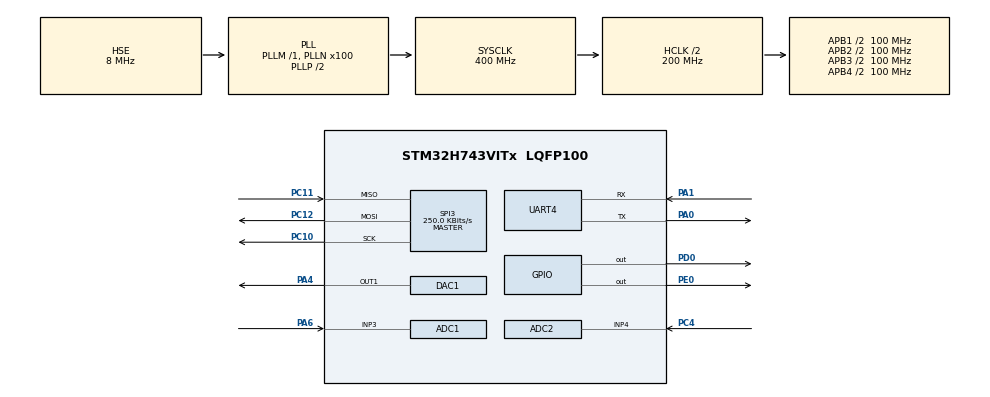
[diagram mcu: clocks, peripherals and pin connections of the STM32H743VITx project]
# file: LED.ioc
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ADC1.Channel-0\#ChannelRegularConversion=ADC_CHANNEL_3
ADC1.ClockPrescaler=ADC_CLOCK_ASYNC_DIV2
ADC1.ConversionDataManagement=ADC_CONVERSIONDATA_DMA_CIRCULAR
ADC1.DMAAccessModeView=ENABLE
ADC1.ExternalTrigConv=ADC_EXTERNALTRIG_T3_TRGO
ADC1.Mode=ADC_DUALMODE_REGSIMULT
ADC1.NbrOfConversion=1
ADC1.NbrOfConversionFlag=1
ADC1.OffsetNumber-0\#ChannelRegularConversion=ADC_OFFSET_NONE
ADC1.OversamplingMode=DISABLE
ADC1.Rank-0\#ChannelRegularConversion=1
ADC1.SamplingTime-0\#ChannelRegularConversion=ADC_SAMPLETIME_1CYCLE_5
ADC1.master=1
ADC2.Channel-1\#ChannelRegularConversion=ADC_CHANNEL_4
ADC2.ConversionDataManagement=ADC_CONVERSIONDATA_DMA_CIRCULAR
ADC2.DMAAccessModeView=ENABLE
ADC2.Mode=ADC_DUALMODE_REGSIMULT
ADC2.NbrOfConversionFlag=1
ADC2.OffsetNumber-1\#ChannelRegularConversion=ADC_OFFSET_NONE
ADC2.Rank-1\#ChannelRegularConversion=1
ADC2.SamplingTime-1\#ChannelRegularConversion=ADC_SAMPLETIME_1CYCLE_5
Bdma.BDMA_GENERATOR0.0.Direction=DMA_MEMORY_TO_PERIPH
Bdma.BDMA_GENERATOR0.0.EventEnable=DISABLE
Bdma.BDMA_GENERATOR0.0.Instance=BDMA_Channel0
Bdma.BDMA_GENERATOR0.0.MemDataAlignment=DMA_MDATAALIGN_HALFWORD
Bdma.BDMA_GENERATOR0.0.MemInc=DMA_MINC_ENABLE
Bdma.BDMA_GENERATOR0.0.Mode=DMA_CIRCULAR
Bdma.BDMA_GENERATOR0.0.PeriphDataAlignment=DMA_PDATAALIGN_HALFWORD
Bdma.BDMA_GENERATOR0.0.PeriphInc=DMA_PINC_DISABLE
Bdma.BDMA_GENERATOR0.0.Polarity=HAL_DMAMUX_REQ_GEN_RISING
Bdma.BDMA_GENERATOR0.0.Priority=DMA_PRIORITY_LOW
Bdma.BDMA_GENERATOR0.0.RequestNumber=1
Bdma.BDMA_GENERATOR0.0.SignalID=HAL_DMAMUX2_REQ_GEN_LPTIM2_OUT
Bdma.BDMA_GENERATOR0.0.SyncEnable=DISABLE
Bdma.BDMA_GENERATOR0.0.SyncPolarity=HAL_DMAMUX_SYNC_NO_EVENT
Bdma.BDMA_GENERATOR0.0.SyncRequestNumber=1
Bdma.BDMA_GENERATOR0.0.SyncSignalID=NONE
Bdma.Request0=BDMA_GENERATOR0
Bdma.RequestsNb=1
CORTEX_M7.CPU_DCache=Disabled
CORTEX_M7.CPU_ICache=Disabled
Dma.ADC1.0.Direction=DMA_PERIPH_TO_MEMORY
Dma.ADC1.0.EventEnable=DISABLE
Dma.ADC1.0.FIFOMode=DMA_FIFOMODE_DISABLE
Dma.ADC1.0.Instance=DMA1_Stream1
Dma.ADC1.0.MemDataAlignment=DMA_MDATAALIGN_HALFWORD
Dma.ADC1.0.MemInc=DMA_MINC_ENABLE
Dma.ADC1.0.Mode=DMA_CIRCULAR
Dma.ADC1.0.PeriphDataAlignment=DMA_PDATAALIGN_HALFWORD
Dma.ADC1.0.PeriphInc=DMA_PINC_DISABLE
Dma.ADC1.0.Polarity=HAL_DMAMUX_REQ_GEN_RISING
Dma.ADC1.0.Priority=DMA_PRIORITY_LOW
Dma.ADC1.0.RequestNumber=1
Dma.ADC1.0.SignalID=NONE
Dma.ADC1.0.SyncEnable=DISABLE
Dma.ADC1.0.SyncPolarity=HAL_DMAMUX_SYNC_NO_EVENT
Dma.ADC1.0.SyncRequestNumber=1
Dma.ADC1.0.SyncSignalID=NONE
Dma.Request0=ADC1
Dma.Request1=UART4_RX
Dma.UART4_RX.1.Direction=DMA_PERIPH_TO_MEMORY
Dma.UART4_RX.1.EventEnable=DISABLE
Dma.UART4_RX.1.FIFOMode=DMA_FIFOMODE_DISABLE
Dma.UART4_RX.1.Instance=DMA1_Stream2
Dma.UART4_RX.1.MemDataAlignment=DMA_MDATAALIGN_BYTE
Dma.UART4_RX.1.MemInc=DMA_MINC_ENABLE
Dma.UART4_RX.1.Mode=DMA_NORMAL
Dma.UART4_RX.1.PeriphDataAlignment=DMA_PDATAALIGN_BYTE
Dma.UART4_RX.1.PeriphInc=DMA_PINC_DISABLE
Dma.UART4_RX.1.Polarity=HAL_DMAMUX_REQ_GEN_RISING
Dma.UART4_RX.1.Priority=DMA_PRIORITY_LOW
Dma.UART4_RX.1.RequestNumber=1
Dma.UART4_RX.1.SignalID=NONE
Dma.UART4_RX.1.SyncEnable=DISABLE
Dma.UART4_RX.1.SyncPolarity=HAL_DMAMUX_SYNC_NO_EVENT
Dma.UART4_RX.1.SyncRequestNumber=1
Dma.UART4_RX.1.SyncSignalID=NONE
Mcu.Family=STM32H7
Mcu.Name=STM32H743VITx
Mcu.Package=LQFP100
NVIC.BDMA_Channel0_IRQn=true\:0\:0\:false\:false\:true\:true\:true
NVIC.DMA1_Stream1_IRQn=true\:0\:0\:false\:false\:true\:false\:true
NVIC.DMA1_Stream2_IRQn=true\:0\:0\:false\:false\:true\:false\:true
NVIC.DMAMUX2_OVR_IRQn=true\:0\:0\:false\:false\:true\:false\:true
NVIC.PriorityGroup=NVIC_PRIORITYGROUP_4
NVIC.TIM3_IRQn=true\:0\:0\:false\:false\:true\:true\:true
NVIC.UART4_IRQn=true\:0\:0\:false\:false\:true\:true\:true
PA0.Mode=Asynchronous
PA0.Signal=UART4_TX
PA1.Mode=Asynchronous
PA1.Signal=UART4_RX
PA4.Signal=COMP_DAC11_group
PA6.Signal=ADCx_INP3
PC10.Mode=Full_Duplex_Master
PC10.Signal=SPI3_SCK
PC11.Mode=Full_Duplex_Master
PC11.Signal=SPI3_MISO
PC12.Mode=Full_Duplex_Master
PC12.Signal=SPI3_MOSI
PC4.Signal=ADCx_INP4
PD0.Signal=GPIO_Output
PE0.Signal=GPIO_Output
PH0-OSC_IN\ (PH0).Mode=HSE-External-Oscillator
PH0-OSC_IN\ (PH0).Signal=RCC_OSC_IN
PH1-OSC_OUT\ (PH1).Mode=HSE-External-Oscillator
PH1-OSC_OUT\ (PH1).Signal=RCC_OSC_OUT
ProjectManager.HeapSize=0x200
ProjectManager.StackSize=0x400
ProjectManager.TargetToolchain=MDK-ARM V5
RCC.ADCFreq_Value=72000000
RCC.APB1Freq_Value=100000000
RCC.APB2Freq_Value=100000000
RCC.APB3Freq_Value=100000000
RCC.APB4Freq_Value=100000000
RCC.CortexFreq_Value=400000000
RCC.D1PPRE=RCC_APB3_DIV2
RCC.D2PPRE1=RCC_APB1_DIV2
RCC.D2PPRE2=RCC_APB2_DIV2
RCC.D3PPRE=RCC_APB4_DIV2
RCC.DIVM1=1
RCC.DIVM2=1
RCC.DIVN1=100
RCC.DIVN2=27
RCC.DIVP2=3
RCC.HCLKFreq_Value=200000000
RCC.HPRE=RCC_HCLK_DIV2
RCC.HSE_VALUE=8000000
RCC.PLL2FRACN=0
RCC.PLLSourceVirtual=RCC_PLLSOURCE_HSE
RCC.PWR_Regulator_Voltage_Scale=PWR_REGULATOR_VOLTAGE_SCALE1
RCC.SPI123CLockSelection=RCC_SPI123CLKSOURCE_CLKP
RCC.SYSCLKFreq_VALUE=400000000
RCC.SYSCLKSource=RCC_SYSCLKSOURCE_PLLCLK
RCC.USBFreq_Value=400000000
SH.ADCx_INP3.0=ADC1_INP3,IN3-Single-Ended
SH.ADCx_INP4.0=ADC2_INP4,IN4-Single-Ended
SH.COMP_DAC11_group.0=DAC1_OUT1,DAC_OUT1
SPI3.BaudRatePrescaler=SPI_BAUDRATEPRESCALER_256
SPI3.CLKPhase=SPI_PHASE_2EDGE
SPI3.CalculateBaudRate=250.0 KBits/s
SPI3.DataSize=SPI_DATASIZE_32BIT
SPI3.Direction=SPI_DIRECTION_2LINES
SPI3.Mode=SPI_MODE_MASTER
SPI3.VirtualType=VM_MASTER
TIM3.Period=1000-1
TIM3.Prescaler=100-1
TIM3.TIM_MasterOutputTrigger=TIM_TRGO_UPDATE
TIM3.TIM_MasterSlaveMode=TIM_MASTERSLAVEMODE_DISABLE
VP_LPTIM2_VS_LPTIM_counterModeInternalClock.Mode=Counts__internal_clock_event_00
VP_TIM3_VS_ClockSourceINT.Mode=Internal
board=custom

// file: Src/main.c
/* USER CODE BEGIN Header */
/**
  ******************************************************************************
  * @file           : main.c
  * @brief          : Main program body
  ******************************************************************************
  ** This notice applies to any and all portions of this file
  * that are not between comment pairs USER CODE BEGIN and
  * USER CODE END. Other portions of this file, whether
  * inserted by the user or by software development tools
  * are owned by their respective copyright owners.
  *
  * COPYRIGHT(c) 2019 STMicroelectronics
  *
  * Redistribution and use in source and binary forms, with or without modification,
  * are permitted provided that the following conditions are met:
  *   1. Redistributions of source code must retain the above copyright notice,
  *      this list of conditions and the following disclaimer.
  *   2. Redistributions in binary form must reproduce the above copyright notice,
  *      this list of conditions and the following disclaimer in the documentation
  *      and/or other materials provided with the distribution.
  *   3. Neither the name of STMicroelectronics nor the names of its contributors
  *      may be used to endorse or promote products derived from this software
  *      without specific prior written permission.
  *
  * THIS SOFTWARE IS PROVIDED BY THE COPYRIGHT HOLDERS AND CONTRIBUTORS "AS IS"
  * AND ANY EXPRESS OR IMPLIED WARRANTIES, INCLUDING, BUT NOT LIMITED TO, THE
  * IMPLIED WARRANTIES OF MERCHANTABILITY AND FITNESS FOR A PARTICULAR PURPOSE ARE
  * DISCLAIMED. IN NO EVENT SHALL THE COPYRIGHT HOLDER OR CONTRIBUTORS BE LIABLE
  * FOR ANY DIRECT, INDIRECT, INCIDENTAL, SPECIAL, EXEMPLARY, OR CONSEQUENTIAL
  * DAMAGES (INCLUDING, BUT NOT LIMITED TO, PROCUREMENT OF SUBSTITUTE GOODS OR
  * SERVICES; LOSS OF USE, DATA, OR PROFITS; OR BUSINESS INTERRUPTION) HOWEVER
  * CAUSED AND ON ANY THEORY OF LIABILITY, WHETHER IN CONTRACT, STRICT LIABILITY,
  * OR TORT (INCLUDING NEGLIGENCE OR OTHERWISE) ARISING IN ANY WAY OUT OF THE USE
  * OF THIS SOFTWARE, EVEN IF ADVISED OF THE POSSIBILITY OF SUCH DAMAGE.
  *
  ******************************************************************************
  */
/* USER CODE END Header */

#include "main.h"
#include "adc.h"
#include "bdma.h"
#include "dac.h"
#include "dma.h"
#include "lptim.h"
#include "spi.h"
#include "tim.h"
#include "usart.h"
#include "gpio.h"

/* USER CODE BEGIN Includes */
#include "arm_math.h"
#include "bdma.h"
//#include "lptim.h"
#include "DDS.h"
#include "arm_fir_example_f32.h"
#include "arm_iir_example_f32.h"
#include "ADPCM.h"
#include "uart_lcd.h"
#include "dft.h"
#include "string.h"
#include "stdlib.h"
#include "stdio.h"
#include "interpolation.h"
#include "ad779x.h"

/* USER CODE END Includes */

void SystemClock_Config(void);
/* USER CODE BEGIN PFP */
short WorkingBuf[1024];
signed char Qerror[1024];
short Output[1024];
u16 len = 0;

int ADC1_value[1000];
int ADC2_value[1000];

float Amplitude_1[1000];
float Amplitude_2[1000];

float phi_1[1000];
float phi_2[1000];

int dst1[3000], dst2[3000];

u16 Flag_1 = 0, Flag_2 = 0;
float delta_t = 0;
float delta_phi = 0;
float z, r, c;

float voltage = 0;
int data = 0;

/* USER CODE END PFP */

/* USER CODE BEGIN 0 */
void SysTick_interrupt()			//1ms
{
    static u32 i;
    if(i == 1000)
    {

        i = 0;
    }
    i++;
}

/* USER CODE END 0 */

int main(void)
{
    /* USER CODE BEGIN 1 */
    /* Enable I-Cache---------------------------------------------------------*/
//  SCB_EnableICache();

//  /* Enable D-Cache---------------------------------------------------------*/
//  SCB_EnableDCache();
    /* USER CODE END 1 */

    /* MCU Configuration--------------------------------------------------------*/

    /* Reset of all peripherals, Initializes the Flash interface and the Systick. */
    HAL_Init();

    /* Configure the system clock */
    SystemClock_Config();

    /* USER CODE BEGIN SysInit */
//    HAL_Delay(1000);
    /* USER CODE END SysInit */

    /* Initialize all configured peripherals */
    MX_GPIO_Init();
    MX_BDMA_Init();
    MX_DMA_Init();
    // ADC 初始化和校准
    MX_ADC2_Init();
    HAL_ADCEx_Calibration_Start(&hadc2, ADC_CALIB_OFFSET, ADC_SINGLE_ENDED);

    MX_ADC1_Init();
    MX_ADC2_Init();

    MX_TIM3_Init();
    MX_UART4_Init();
    MX_LPTIM2_Init();
	MX_SPI3_Init();
    MX_DAC1_Init();
    /* USER CODE BEGIN 2 */
    ADC12_Tim3_START();		//fs = 2k
    InitSinTable();
    DDS_init(num);
    UART_DMA_init();

   AD779X_Init();		// 需要校准

//	printf("SPG(1);\r\n");		// 初始化

    /* USER CODE END 2 */

    /* Infinite loop */
    /* USER CODE BEGIN WHILE */

    if(HAL_DAC_SetValue(&hdac1, DAC_CHANNEL_1, DAC_ALIGN_12B_R, 1023) != HAL_OK) //实测：0.413V  理论：511 0.412V
    {
        /* Setting value Error */
        Error_Handler();
    }
    /*##-4- Enable DAC Channel1 ################################################*/
    if(HAL_DAC_Start(&hdac1, DAC_CHANNEL_1) != HAL_OK)
    {
        /* Start Error */
        Error_Handler();
    }
    while(1)
    {
        /* USER CODE END WHILE */

        /* USER CODE BEGIN 3 */

		if(AD779X_CheckReadySW()==AD779X_SR_RDY)
		{
			data = AD779X_ReadDataRegister24();
		    voltage = (float)data/(0xffffff )*2.494;
		}

//        // 设置激励频率
//        if(but_enter == 1)
//        {
//            DDS_init(num);			// 初始值1K
//            but_enter = 0;

//        }
//
//        if(Clear == 1)
//        {
//            HAL_Delay(500);
//            printf("SPG(1);\r\n");
//            HAL_Delay(500);
//            Clear = 0;
//        }
//        if(ADC_FULL)
//        {
//            volatile float max1 = 0, max2 = 0;
//            volatile float Phi_1, Phi_2, delta;
//            volatile int state = 0;
//            //1M 采样率
//            for(int i = 0; i < 1000; i++)
//            {
//                ADC1_value[i] = (aADCDualConvertedValues[i] & 0xFFFF);		// 主ADC
//                ADC2_value[i] = (aADCDualConvertedValues[i] >> 16);
//				printf("%d ",ADC1_value[i]);
//            }

//            if(num >= 1000)		// 被测信号大于1K
//            {
//                Interpolation(ADC1_value, dst1, 1000, num); // 输出1000长度
//                Interpolation(ADC2_value, dst2, 1000, num); // 输出1000长度
//            }
//            else						// 小于1K，只取前1000个点
//            {
//                for(int i = 0; i < 1000; i++)
//                {
//                    dst1[i] = ADC1_value[i];
//                    dst2[i] = ADC2_value[i];
//                }
//            }
//			for(int i = 0;i<1000;i++)
//				printf("%d ",dst1[i]);
//            DFT_Calculate(dst1, Amplitude_1, phi_1);
//            DFT_Calculate(dst2, Amplitude_2, phi_2);

//            max1 = Amplitude_1[1]  + 0.01;			// U
//            max2 = Amplitude_2[1]/910 + 0.01;		// I
//            Phi_1 = phi_1[1];
//            Phi_2 = phi_2[1];
//            delta_phi = Phi_1 - Phi_2;
////
//#define R2 995
////		correlation();
//#define F num
//            r = (max1 / max2 * arm_cos_f32(delta_phi / 360 * 2 * 3.14)) ;
//            c = (max1 / max2 * arm_sin_f32(delta_phi / 360 * 2 * 3.14)) ;
//            c = -1 / (2 * 3.14 * F * c) * 1000000;		//单位uF

//            char buf[100];				// 1s 显示一次
//            sprintf(buf, "DS32(586,276,'%.6f    ',1);\r\n", c);
//            printf(buf);

//            HAL_Delay(1000);

//            ADC_FULL = 0;
//            // 重启ADC_DMA
//            HAL_ADC_DeInit(&hadc1);
//            HAL_ADC_DeInit(&hadc2);
////            MX_DMA_Init();

//            MX_ADC2_Init();
//            HAL_ADCEx_Calibration_Start(&hadc2, ADC_CALIB_OFFSET, ADC_SINGLE_ENDED);

//            MX_ADC1_Init();
//            MX_ADC2_Init();
//            HAL_ADCEx_MultiModeStart_DMA(&hadc1, (uint32_t*)aADCDualConvertedValues, ADCCONVERTEDVALUES_BUFFER_SIZE);
//        }

    }

    /* USER CODE END 3 */
}

void SystemClock_Config(void)
{
    RCC_OscInitTypeDef RCC_OscInitStruct = {0};
    RCC_ClkInitTypeDef RCC_ClkInitStruct = {0};
    RCC_PeriphCLKInitTypeDef PeriphClkInitStruct = {0};

    /** Supply configuration update enable
    */
    HAL_PWREx_ConfigSupply(PWR_LDO_SUPPLY);
    /** Configure the main internal regulator output voltage
    */
    __HAL_PWR_VOLTAGESCALING_CONFIG(PWR_REGULATOR_VOLTAGE_SCALE1);

    while(!__HAL_PWR_GET_FLAG(PWR_FLAG_VOSRDY)) {}
    /** Macro to configure the PLL clock source
    */
    __HAL_RCC_PLL_PLLSOURCE_CONFIG(RCC_PLLSOURCE_HSE);
    /** Initializes the CPU, AHB and APB busses clocks
    */
    RCC_OscInitStruct.OscillatorType = RCC_OSCILLATORTYPE_HSI | RCC_OSCILLATORTYPE_HSE;
    RCC_OscInitStruct.HSEState = RCC_HSE_ON;
    RCC_OscInitStruct.HSIState = RCC_HSI_DIV1;
    RCC_OscInitStruct.HSICalibrationValue = RCC_HSICALIBRATION_DEFAULT;
    RCC_OscInitStruct.PLL.PLLState = RCC_PLL_ON;
    RCC_OscInitStruct.PLL.PLLSource = RCC_PLLSOURCE_HSE;
    RCC_OscInitStruct.PLL.PLLM = 1;
    RCC_OscInitStruct.PLL.PLLN = 100;
    RCC_OscInitStruct.PLL.PLLP = 2;
    RCC_OscInitStruct.PLL.PLLQ = 2;
    RCC_OscInitStruct.PLL.PLLR = 2;
    RCC_OscInitStruct.PLL.PLLRGE = RCC_PLL1VCIRANGE_3;
    RCC_OscInitStruct.PLL.PLLVCOSEL = RCC_PLL1VCOWIDE;
    RCC_OscInitStruct.PLL.PLLFRACN = 0;
    if(HAL_RCC_OscConfig(&RCC_OscInitStruct) != HAL_OK)
    {
        Error_Handler();
    }
    /** Initializes the CPU, AHB and APB busses clocks
    */
    RCC_ClkInitStruct.ClockType = RCC_CLOCKTYPE_HCLK | RCC_CLOCKTYPE_SYSCLK
                                  | RCC_CLOCKTYPE_PCLK1 | RCC_CLOCKTYPE_PCLK2
                                  | RCC_CLOCKTYPE_D3PCLK1 | RCC_CLOCKTYPE_D1PCLK1;
    RCC_ClkInitStruct.SYSCLKSource = RCC_SYSCLKSOURCE_PLLCLK;
    RCC_ClkInitStruct.SYSCLKDivider = RCC_SYSCLK_DIV1;
    RCC_ClkInitStruct.AHBCLKDivider = RCC_HCLK_DIV2;
    RCC_ClkInitStruct.APB3CLKDivider = RCC_APB3_DIV2;
    RCC_ClkInitStruct.APB1CLKDivider = RCC_APB1_DIV2;
    RCC_ClkInitStruct.APB2CLKDivider = RCC_APB2_DIV2;
    RCC_ClkInitStruct.APB4CLKDivider = RCC_APB4_DIV2;

    if(HAL_RCC_ClockConfig(&RCC_ClkInitStruct, FLASH_LATENCY_2) != HAL_OK)
    {
        Error_Handler();
    }
    PeriphClkInitStruct.PeriphClockSelection = RCC_PERIPHCLK_UART4 | RCC_PERIPHCLK_SPI3
            | RCC_PERIPHCLK_LPTIM2 | RCC_PERIPHCLK_ADC
            | RCC_PERIPHCLK_CKPER;
    PeriphClkInitStruct.PLL2.PLL2M = 1;
    PeriphClkInitStruct.PLL2.PLL2N = 27;
    PeriphClkInitStruct.PLL2.PLL2P = 3;
    PeriphClkInitStruct.PLL2.PLL2Q = 2;
    PeriphClkInitStruct.PLL2.PLL2R = 2;
    PeriphClkInitStruct.PLL2.PLL2RGE = RCC_PLL2VCIRANGE_3;
    PeriphClkInitStruct.PLL2.PLL2VCOSEL = RCC_PLL2VCOWIDE;
    PeriphClkInitStruct.PLL2.PLL2FRACN = 0;
    PeriphClkInitStruct.CkperClockSelection = RCC_CLKPSOURCE_HSI;
    PeriphClkInitStruct.Spi123ClockSelection = RCC_SPI123CLKSOURCE_CLKP;
    PeriphClkInitStruct.Usart234578ClockSelection = RCC_USART234578CLKSOURCE_D2PCLK1;
    PeriphClkInitStruct.Lptim2ClockSelection = RCC_LPTIM2CLKSOURCE_D3PCLK1;
    PeriphClkInitStruct.AdcClockSelection = RCC_ADCCLKSOURCE_PLL2;
    if(HAL_RCCEx_PeriphCLKConfig(&PeriphClkInitStruct) != HAL_OK)
    {
        Error_Handler();
    }
}

void Error_Handler(void)
{
}

/************************ (C) COPYRIGHT STMicroelectronics *****END OF FILE****/
